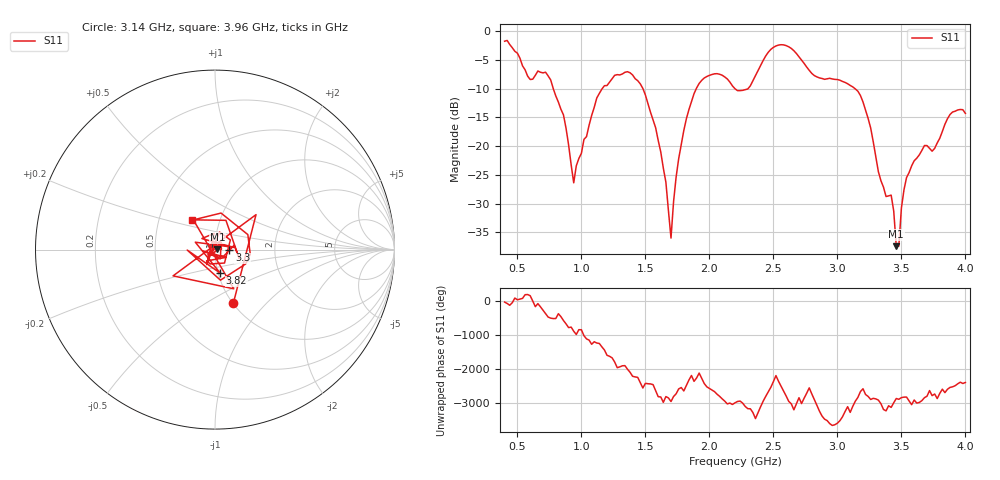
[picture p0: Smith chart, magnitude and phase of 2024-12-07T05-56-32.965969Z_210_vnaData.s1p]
!Created with skrf (http://scikit-rf.org).
# Hz S RI R 50.0
!freq ReS11 ImS11
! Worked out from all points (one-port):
!   181 points, 400 MHz to 4 GHz, reference 50 ohm
!   lowest |S11| = -37.4 dB at 3.46 GHz (marker M1), VSWR 1.03, Z = 51.4 + j0.194 ohm
!   |S11| at or under -10 dB: 780.3 MHz to 1.163 GHz (382.3 MHz wide, 39.4 % of centre); 1.481 GHz to 1.898 GHz (416.9 MHz wide, 24.7 % of centre); 3.137 GHz to end of sweep (the widest 3 of 4)
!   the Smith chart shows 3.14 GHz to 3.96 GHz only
!   S11 on the Smith chart (normalised r, x): 3.14 GHz: 1.01, -0.67; 3.3 GHz: 1.18, -0.01; 3.82 GHz: 1.02, -0.27; 3.96 GHz: 0.74, +0.25
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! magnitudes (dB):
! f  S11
! 400 MHz  -1.7
! 600 MHz  -8.4
! 720 MHz  -7.1
! 860 MHz  -14.6
! 940 MHz  -26.4
! 1.12 GHz  -11.6
! 1.3 GHz  -7.6
! 1.5 GHz  -11.1
! 1.62 GHz  -21.0
! 1.7 GHz  -36.0
! 1.76 GHz  -22.2
! 1.92 GHz  -9.1
! 2.2 GHz  -10.0
! 2.3 GHz  -10.1
! 2.5 GHz  -2.8
! 2.66 GHz  -3.4
! 3.1 GHz  -9.4
! 3.14 GHz  -10.0
! 3.3 GHz  -21.9
! 3.38 GHz  -28.8
! 3.42 GHz  -28.5
! 3.46 GHz  -37.4
! 3.48 GHz  -37.4
! 3.5 GHz  -30.8
! 3.56 GHz  -24.6
! 3.82 GHz  -17.4
! 3.96 GHz  -13.6
! 4 GHz  -14.3
